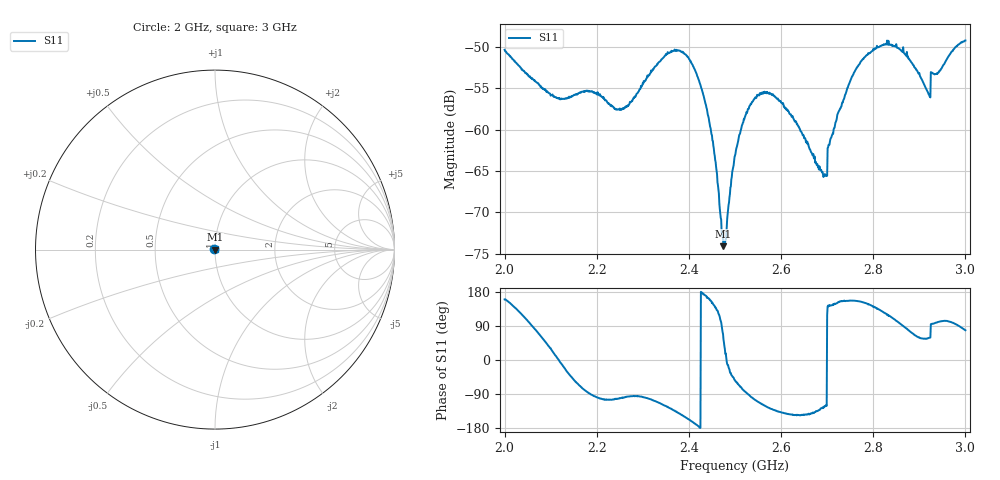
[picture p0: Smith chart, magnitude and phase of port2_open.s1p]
!Created with skrf (http://scikit-rf.org).
# GHz S RI R 50.0
!freq ReS11 ImS11
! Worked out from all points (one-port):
!   1001 points, 2 GHz to 3 GHz, reference 50 ohm
!   lowest |S11| = -74.1 dB at 2.475 GHz (marker M1), VSWR 1.00, Z = 50 + j0.016 ohm
!   |S11| at or under -10 dB: start of sweep to end of sweep
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2  -0.00285 0.00104
2.125  0.00149 -0.000338
2.186  1.25e-05 -0.0017
2.25  -0.000262 -0.00131
2.349  -0.00144 -0.0024
2.375  -0.00224 -0.002
2.405  -0.00239 -0.000829
2.434  -0.0015 0.000219
2.455  -0.00058 0.000425
2.471  -4.99e-06 0.00024
2.475  0.000115 0.00016
2.48  0.000206 6.36e-05
2.491  0.000372 -0.000258
2.5  0.000414 -0.000561
2.524  0.0001 -0.00124
2.553  -0.000619 -0.00148
2.583  -0.00106 -0.0012
2.625  -0.00097 -0.000714
2.695  -0.00028 -0.000459
2.706  -0.00068 0.000504
2.75  -0.00181 0.000778
2.777  -0.00235 0.00122
2.813  -0.00216 0.00231
2.845  -0.000997 0.00304
2.875  0.000465 0.00273
2.919  0.000895 0.00141
2.93  -0.000228 0.00216
3  0.00069 0.00338
